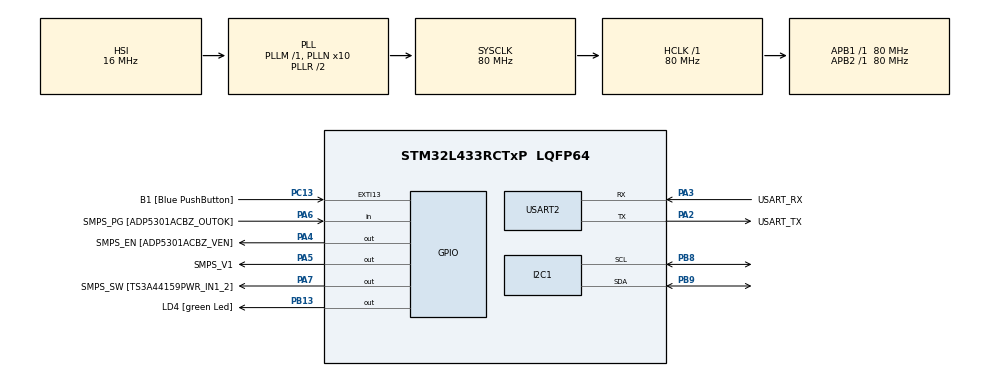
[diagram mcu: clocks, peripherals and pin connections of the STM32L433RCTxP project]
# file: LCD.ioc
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I2C1.Timing=0x10D19CE4
Mcu.Family=STM32L4
Mcu.Name=STM32L433RCTxP
Mcu.Package=LQFP64
NVIC.PriorityGroup=NVIC_PRIORITYGROUP_4
NVIC.TIM7_IRQn=true\:0\:0\:false\:false\:true\:true\:true\:true
PA13\ (JTMS-SWDIO).GPIO_Label=TMS
PA13\ (JTMS-SWDIO).Mode=Serial_Wire
PA13\ (JTMS-SWDIO).Signal=SYS_JTMS-SWDIO
PA14\ (JTCK-SWCLK).GPIO_Label=TCK
PA14\ (JTCK-SWCLK).Mode=Serial_Wire
PA14\ (JTCK-SWCLK).Signal=SYS_JTCK-SWCLK
PA2.GPIO_Label=USART_TX
PA2.GPIO_Mode=GPIO_MODE_AF_PP
PA2.GPIO_PuPd=GPIO_NOPULL
PA2.GPIO_Speed=GPIO_SPEED_FREQ_VERY_HIGH
PA2.Mode=Asynchronous
PA2.Signal=USART2_TX
PA3.GPIO_Label=USART_RX
PA3.GPIO_Mode=GPIO_MODE_AF_PP
PA3.GPIO_PuPd=GPIO_NOPULL
PA3.GPIO_Speed=GPIO_SPEED_FREQ_VERY_HIGH
PA3.Mode=Asynchronous
PA3.Signal=USART2_RX
PA4.GPIO_Label=SMPS_EN [ADP5301ACBZ_VEN]
PA4.Signal=GPIO_Output
PA5.GPIO_Label=SMPS_V1
PA5.GPIO_ModeDefaultOutputPP=GPIO_MODE_OUTPUT_PP
PA5.GPIO_PuPd=GPIO_NOPULL
PA5.GPIO_Speed=GPIO_SPEED_FREQ_LOW
PA5.Signal=GPIO_Output
PA6.GPIO_Label=SMPS_PG [ADP5301ACBZ_OUTOK]
PA6.GPIO_PuPd=GPIO_PULLUP
PA6.Signal=GPIO_Input
PA7.GPIO_Label=SMPS_SW [TS3A44159PWR_IN1_2]
PA7.Signal=GPIO_Output
PB13.GPIO_Label=LD4 [green Led]
PB13.Signal=GPIO_Output
PB3\ (JTDO-TRACESWO).GPIO_Label=SWO
PB3\ (JTDO-TRACESWO).Signal=SYS_JTDO-SWO
PB8.Mode=I2C
PB8.Signal=I2C1_SCL
PB9.Mode=I2C
PB9.Signal=I2C1_SDA
PC13.GPIO_Label=B1 [Blue PushButton]
PC13.GPIO_ModeDefaultEXTI=GPIO_MODE_IT_FALLING
PC13.GPIO_PuPd=GPIO_NOPULL
PC13.Signal=GPXTI13
PC14-OSC32_IN\ (PC14).Mode=LSE-External-Oscillator
PC14-OSC32_IN\ (PC14).Signal=RCC_OSC32_IN
PC15-OSC32_OUT\ (PC15).Mode=LSE-External-Oscillator
PC15-OSC32_OUT\ (PC15).Signal=RCC_OSC32_OUT
PH0-OSC_IN\ (PH0).GPIO_Label=MCO
PH0-OSC_IN\ (PH0).Mode=HSE-External-Clock-Source
PH0-OSC_IN\ (PH0).Signal=RCC_OSC_IN
PH1-OSC_OUT\ (PH1).Signal=RCC_OSC_OUT
ProjectManager.HeapSize=0x200
ProjectManager.StackSize=0x400
ProjectManager.TargetToolchain=STM32CubeIDE
RCC.ADCFreq_Value=64000000
RCC.AHBFreq_Value=80000000
RCC.APB1Freq_Value=80000000
RCC.APB1TimFreq_Value=80000000
RCC.APB2Freq_Value=80000000
RCC.APB2TimFreq_Value=80000000
RCC.CortexFreq_Value=80000000
RCC.HCLKFreq_Value=80000000
RCC.HSE_VALUE=8000000
RCC.HSI48_VALUE=48000000
RCC.HSI_VALUE=16000000
RCC.MSI_VALUE=4000000
RCC.PLLN=10
RCC.PLLSourceVirtual=RCC_PLLSOURCE_HSI
RCC.PREFETCH_ENABLE=1
RCC.SYSCLKFreq_VALUE=80000000
RCC.SYSCLKSource=RCC_SYSCLKSOURCE_PLLCLK
RCC.USBFreq_Value=64000000
RCC.VCOOutputFreq_Value=160000000
TIM2.Prescaler=79
TIM7.Period=9999
TIM7.Prescaler=7999
USART2.VirtualMode-Asynchronous=VM_ASYNC
VP_TIM2_VS_ClockSourceINT.Mode=Internal
VP_TIM7_VS_ClockSourceINT.Mode=Enable_Timer
board=NUCLEO-L433RC-P

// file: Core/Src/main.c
/* USER CODE BEGIN Header */
/**
  ******************************************************************************
  * @file           : main.c
  * @brief          : Main program body
  ******************************************************************************
  * @attention
  *
  * Copyright (c) 2026 STMicroelectronics.
  * All rights reserved.
  *
  * This software is licensed under terms that can be found in the LICENSE file
  * in the root directory of this software component.
  * If no LICENSE file comes with this software, it is provided AS-IS.
  *
  ******************************************************************************
  */
/* USER CODE END Header */
#include "main.h"

/* USER CODE BEGIN Includes */
#include <stdio.h>
#include <string.h>
#include "lcd.h"

/* USER CODE END Includes */

I2C_HandleTypeDef hi2c1;

TIM_HandleTypeDef htim2;
TIM_HandleTypeDef htim7;

UART_HandleTypeDef huart2;

void SystemClock_Config(void);
static void MX_GPIO_Init(void);
static void MX_USART2_UART_Init(void);
static void MX_TIM7_Init(void);
static void MX_I2C1_Init(void);
static void MX_TIM2_Init(void);

/* USER CODE BEGIN 0 */

volatile uint8_t clock_tick = 0;

TextLCDType lcd;

struct clock_data
{
	uint8_t hrs;
	uint8_t min;
	uint8_t sec;
};

void cd_set(struct clock_data *pcd,
		    uint8_t hrs,
			uint8_t min,
			uint8_t sec)
{
	pcd->hrs = hrs;
	pcd->min = min;
	pcd->sec = sec;
}

void cd_tick(struct clock_data *pcd)
{
	pcd->sec++;

	if(pcd->sec >= 60)
	{
		pcd->sec = 0;
		pcd->min++;
	}

	if(pcd->min >= 60)
	{
		pcd->min = 0;
		pcd->hrs++;
	}

	if(pcd->hrs >= 24)
	{
		pcd->hrs = 0;
	}
}

void uart_print_cd(UART_HandleTypeDef *huart,
		           struct clock_data *pcd)
{
	char buffer[20];

	sprintf(buffer, "\r%02d:%02d:%02d",
			pcd->hrs,
			pcd->min,
			pcd->sec);

	HAL_UART_Transmit(huart,
			          (uint8_t *)buffer,
					  strlen(buffer),
					  HAL_MAX_DELAY);
}

void wait_for_button_press()
{
	while(HAL_GPIO_ReadPin(B1_GPIO_Port, B1_Pin) == GPIO_PIN_SET)
	{

	}

	while(HAL_GPIO_ReadPin(B1_GPIO_Port, B1_Pin) == GPIO_PIN_RESET)
	{

	}

	HAL_Delay(50); //väntar 50 ms så att det inte blir kontaktstuds
}

void lcd_print_cd(TextLCDType *hlcd, struct clock_data *pcd)
{
	char buffer[9];

	sprintf(buffer, "%02d:%02d:%02d",
			pcd->hrs,
			pcd->min,
			pcd->sec);

	TextLCD_Position(hlcd, 8, 1);
	TextLCD_PutStr(hlcd, buffer);
}

/* USER CODE END 0 */

int main(void)
{

  /* MCU Configuration--------------------------------------------------------*/

  /* Reset of all peripherals, Initializes the Flash interface and the Systick. */
  HAL_Init();

  /* Configure the system clock */
  SystemClock_Config();

  /* Initialize all configured peripherals */
  MX_GPIO_Init();
  MX_USART2_UART_Init();
  MX_TIM7_Init();
  MX_I2C1_Init();
  MX_TIM2_Init();
  /* USER CODE BEGIN 2 */

  HAL_TIM_Base_Start_IT(&htim7);

  struct clock_data my_clock;
  cd_set(&my_clock, 0, 0, 0);

  TextLCD_Init(&lcd, &hi2c1, 0x4E);

  TextLCD_Clear(&lcd);

  TextLCD_Position(&lcd, 0, 0);
  TextLCD_PutStr(&lcd, "Oskars Klocka:");

  /* USER CODE END 2 */

  /* Infinite loop */
  while (1)
  {

    /* USER CODE BEGIN 3 */
	  if(clock_tick)
	  {
		  clock_tick = 0;
		  cd_tick(&my_clock);
		  uart_print_cd(&huart2, &my_clock);
		  lcd_print_cd(&lcd, &my_clock);
	  }

  }
  /* USER CODE END 3 */
}

void SystemClock_Config(void)
{
  RCC_OscInitTypeDef RCC_OscInitStruct = {0};
  RCC_ClkInitTypeDef RCC_ClkInitStruct = {0};

  /** Configure the main internal regulator output voltage
  */
  if (HAL_PWREx_ControlVoltageScaling(PWR_REGULATOR_VOLTAGE_SCALE1) != HAL_OK)
  {
    Error_Handler();
  }

  /** Initializes the RCC Oscillators according to the specified parameters
  * in the RCC_OscInitTypeDef structure.
  */
  RCC_OscInitStruct.OscillatorType = RCC_OSCILLATORTYPE_HSI;
  RCC_OscInitStruct.HSIState = RCC_HSI_ON;
  RCC_OscInitStruct.HSICalibrationValue = RCC_HSICALIBRATION_DEFAULT;
  RCC_OscInitStruct.PLL.PLLState = RCC_PLL_ON;
  RCC_OscInitStruct.PLL.PLLSource = RCC_PLLSOURCE_HSI;
  RCC_OscInitStruct.PLL.PLLM = 1;
  RCC_OscInitStruct.PLL.PLLN = 10;
  RCC_OscInitStruct.PLL.PLLP = RCC_PLLP_DIV7;
  RCC_OscInitStruct.PLL.PLLQ = RCC_PLLQ_DIV2;
  RCC_OscInitStruct.PLL.PLLR = RCC_PLLR_DIV2;
  if (HAL_RCC_OscConfig(&RCC_OscInitStruct) != HAL_OK)
  {
    Error_Handler();
  }

  /** Initializes the CPU, AHB and APB buses clocks
  */
  RCC_ClkInitStruct.ClockType = RCC_CLOCKTYPE_HCLK|RCC_CLOCKTYPE_SYSCLK
                              |RCC_CLOCKTYPE_PCLK1|RCC_CLOCKTYPE_PCLK2;
  RCC_ClkInitStruct.SYSCLKSource = RCC_SYSCLKSOURCE_PLLCLK;
  RCC_ClkInitStruct.AHBCLKDivider = RCC_SYSCLK_DIV1;
  RCC_ClkInitStruct.APB1CLKDivider = RCC_HCLK_DIV1;
  RCC_ClkInitStruct.APB2CLKDivider = RCC_HCLK_DIV1;

  if (HAL_RCC_ClockConfig(&RCC_ClkInitStruct, FLASH_LATENCY_4) != HAL_OK)
  {
    Error_Handler();
  }
}

static void MX_I2C1_Init(void)
{

  hi2c1.Instance = I2C1;
  hi2c1.Init.Timing = 0x10D19CE4;
  hi2c1.Init.OwnAddress1 = 0;
  hi2c1.Init.AddressingMode = I2C_ADDRESSINGMODE_7BIT;
  hi2c1.Init.DualAddressMode = I2C_DUALADDRESS_DISABLE;
  hi2c1.Init.OwnAddress2 = 0;
  hi2c1.Init.OwnAddress2Masks = I2C_OA2_NOMASK;
  hi2c1.Init.GeneralCallMode = I2C_GENERALCALL_DISABLE;
  hi2c1.Init.NoStretchMode = I2C_NOSTRETCH_DISABLE;
  if (HAL_I2C_Init(&hi2c1) != HAL_OK)
  {
    Error_Handler();
  }

  /** Configure Analogue filter
  */
  if (HAL_I2CEx_ConfigAnalogFilter(&hi2c1, I2C_ANALOGFILTER_ENABLE) != HAL_OK)
  {
    Error_Handler();
  }

  /** Configure Digital filter
  */
  if (HAL_I2CEx_ConfigDigitalFilter(&hi2c1, 0) != HAL_OK)
  {
    Error_Handler();
  }

}

static void MX_TIM2_Init(void)
{

  TIM_ClockConfigTypeDef sClockSourceConfig = {0};
  TIM_MasterConfigTypeDef sMasterConfig = {0};

  htim2.Instance = TIM2;
  htim2.Init.Prescaler = 79;
  htim2.Init.CounterMode = TIM_COUNTERMODE_UP;
  htim2.Init.Period = 4294967295;
  htim2.Init.ClockDivision = TIM_CLOCKDIVISION_DIV1;
  htim2.Init.AutoReloadPreload = TIM_AUTORELOAD_PRELOAD_DISABLE;
  if (HAL_TIM_Base_Init(&htim2) != HAL_OK)
  {
    Error_Handler();
  }
  sClockSourceConfig.ClockSource = TIM_CLOCKSOURCE_INTERNAL;
  if (HAL_TIM_ConfigClockSource(&htim2, &sClockSourceConfig) != HAL_OK)
  {
    Error_Handler();
  }
  sMasterConfig.MasterOutputTrigger = TIM_TRGO_RESET;
  sMasterConfig.MasterSlaveMode = TIM_MASTERSLAVEMODE_DISABLE;
  if (HAL_TIMEx_MasterConfigSynchronization(&htim2, &sMasterConfig) != HAL_OK)
  {
    Error_Handler();
  }

}

static void MX_TIM7_Init(void)
{

  TIM_MasterConfigTypeDef sMasterConfig = {0};

  htim7.Instance = TIM7;
  htim7.Init.Prescaler = 7999;
  htim7.Init.CounterMode = TIM_COUNTERMODE_UP;
  htim7.Init.Period = 9999;
  htim7.Init.AutoReloadPreload = TIM_AUTORELOAD_PRELOAD_DISABLE;
  if (HAL_TIM_Base_Init(&htim7) != HAL_OK)
  {
    Error_Handler();
  }
  sMasterConfig.MasterOutputTrigger = TIM_TRGO_RESET;
  sMasterConfig.MasterSlaveMode = TIM_MASTERSLAVEMODE_DISABLE;
  if (HAL_TIMEx_MasterConfigSynchronization(&htim7, &sMasterConfig) != HAL_OK)
  {
    Error_Handler();
  }

}

static void MX_USART2_UART_Init(void)
{

  huart2.Instance = USART2;
  huart2.Init.BaudRate = 115200;
  huart2.Init.WordLength = UART_WORDLENGTH_8B;
  huart2.Init.StopBits = UART_STOPBITS_1;
  huart2.Init.Parity = UART_PARITY_NONE;
  huart2.Init.Mode = UART_MODE_TX_RX;
  huart2.Init.HwFlowCtl = UART_HWCONTROL_NONE;
  huart2.Init.OverSampling = UART_OVERSAMPLING_16;
  huart2.Init.OneBitSampling = UART_ONE_BIT_SAMPLE_DISABLE;
  huart2.AdvancedInit.AdvFeatureInit = UART_ADVFEATURE_NO_INIT;
  if (HAL_UART_Init(&huart2) != HAL_OK)
  {
    Error_Handler();
  }

}

static void MX_GPIO_Init(void)
{
  GPIO_InitTypeDef GPIO_InitStruct = {0};

  /* GPIO Ports Clock Enable */
  __HAL_RCC_GPIOC_CLK_ENABLE();
  __HAL_RCC_GPIOH_CLK_ENABLE();
  __HAL_RCC_GPIOA_CLK_ENABLE();
  __HAL_RCC_GPIOB_CLK_ENABLE();

  /*Configure GPIO pin Output Level */
  HAL_GPIO_WritePin(GPIOA, SMPS_EN_Pin|SMPS_V1_Pin|SMPS_SW_Pin, GPIO_PIN_RESET);

  /*Configure GPIO pin Output Level */
  HAL_GPIO_WritePin(LD4_GPIO_Port, LD4_Pin, GPIO_PIN_RESET);

  /*Configure GPIO pin : B1_Pin */
  GPIO_InitStruct.Pin = B1_Pin;
  GPIO_InitStruct.Mode = GPIO_MODE_IT_FALLING;
  GPIO_InitStruct.Pull = GPIO_NOPULL;
  HAL_GPIO_Init(B1_GPIO_Port, &GPIO_InitStruct);

  /*Configure GPIO pins : SMPS_EN_Pin SMPS_V1_Pin SMPS_SW_Pin */
  GPIO_InitStruct.Pin = SMPS_EN_Pin|SMPS_V1_Pin|SMPS_SW_Pin;
  GPIO_InitStruct.Mode = GPIO_MODE_OUTPUT_PP;
  GPIO_InitStruct.Pull = GPIO_NOPULL;
  GPIO_InitStruct.Speed = GPIO_SPEED_FREQ_LOW;
  HAL_GPIO_Init(GPIOA, &GPIO_InitStruct);

  /*Configure GPIO pin : SMPS_PG_Pin */
  GPIO_InitStruct.Pin = SMPS_PG_Pin;
  GPIO_InitStruct.Mode = GPIO_MODE_INPUT;
  GPIO_InitStruct.Pull = GPIO_PULLUP;
  HAL_GPIO_Init(SMPS_PG_GPIO_Port, &GPIO_InitStruct);

  /*Configure GPIO pin : LD4_Pin */
  GPIO_InitStruct.Pin = LD4_Pin;
  GPIO_InitStruct.Mode = GPIO_MODE_OUTPUT_PP;
  GPIO_InitStruct.Pull = GPIO_NOPULL;
  GPIO_InitStruct.Speed = GPIO_SPEED_FREQ_LOW;
  HAL_GPIO_Init(LD4_GPIO_Port, &GPIO_InitStruct);

}

/* USER CODE BEGIN 4 */

void HAL_TIM_PeriodElapsedCallback(TIM_HandleTypeDef *htim)
{
	if (htim->Instance == TIM7)
	{
		clock_tick = 1;

	}
}

/* USER CODE END 4 */

void Error_Handler(void)
{
  __disable_irq();
  while (1)
  {
  }
}
